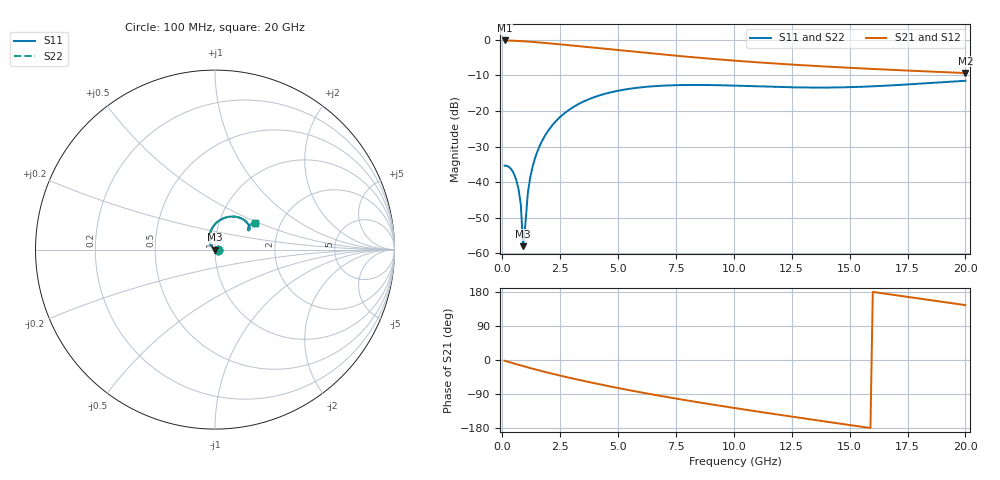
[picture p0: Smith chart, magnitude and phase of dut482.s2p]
! Touchstone file exported from HFSS 2024.1.0
!  File:  C:/UserFiles/LocalFiles/RDL_TSV_Batchsim/temp_RDL_TSV_482_1779732422.aedt
!  Generated:  02:21:49 AM May 26, 2026
!  Design:  RDL_TSV
!  Project:  temp_RDL_TSV_482_1779732422
!  Setup:  Setup1
!  Solution:  Sweep
! Variables:
!  dtsv = 12.53um
!  hbump = 3um
!  htsv = 72.06um
!  ldown = 600.54um
!  lrdl = 314.29um
!  p = 40
!  p1 = 41.17um
!  rhole = 10um
!  subl = 3058.78um
!  t = 450um
!  tdown = 4.89um
!  trdl = 2.39um
!  viad = 10um
!  wdown = 15.19um
!  wrdl = 22.99um
!  xbump = 18um
# GHz S MA R 50.000000
! Terminal data exported
! Port[1] = TM1_1_T1
! Port[2] = TM1_4_T1
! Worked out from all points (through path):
!   200 points, 100 MHz to 20 GHz, reference 50 ohm
!   highest |S21| = -0.15 dB at 100 MHz (marker M1); lowest = -9.3 dB at 20 GHz (marker M2)
!   group delay of S21, straight-line fit = 28.3 ps
!   lowest |S11| = -58.0 dB at 900 MHz (marker M3), VSWR 1.00, Z = 50.1 - j0.0567 ohm
!   |S11| at or under -10 dB: start of sweep to end of sweep
!   |S22| runs from -58.0 to -11.5 dB; largest |S21 - S12| = 1.1e-14
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0.1  0.0171 -0.6  0.9823 -1.9  0.9823 -1.9  0.0171 -0.6
! Gamma 0 0 0 0
! Port Impedance 50 0 50 0
0.4  0.01507 -9.2  0.9761 -7.4  0.9761 -7.4  0.01506 -9.2
0.6  0.01086 -16.1  0.9698 -10.9  0.9698 -10.9  0.01086 -16.2
0.7  0.00806 -19.5  0.9662 -12.7  0.9662 -12.7  0.008053 -19.6
0.8  0.004849 -22.8  0.9621 -14.4  0.9621 -14.4  0.004843 -23.0
0.9  0.001265 -26.6  0.9578 -16.1  0.9578 -16.1  0.001259 -27.3
1  0.00266 151.4  0.9532 -17.8  0.9532 -17.8  0.002666 151.8
1.1  0.006893 148.1  0.9483 -19.5  0.9483 -19.5  0.006899 148.3
1.2  0.0114 145.1  0.9431 -21.2  0.9431 -21.2  0.01141 145.2
1.4  0.02113 139.3  0.9322 -24.5  0.9322 -24.5  0.02114 139.4
1.6  0.03161 133.8  0.9207 -27.7  0.9207 -27.7  0.03162 133.8
2  0.05397 123.4  0.8966 -33.8  0.8966 -33.8  0.05399 123.5
2.4  0.07698 113.9  0.8719 -39.8  0.8719 -39.8  0.07703 114.0
2.9  0.105 103.2  0.841 -46.9  0.841 -46.9  0.1051 103.3
3.5  0.1358 91.9  0.8047 -55.0  0.8047 -55.0  0.1359 92.0
4.9  0.1902 70.7  0.7247 -72.7  0.7247 -72.7  0.1904 70.8
6.8  0.2264 50.6  0.6299 -94.4  0.6299 -94.4  0.2268 50.6
8.4  0.233 39.5  0.5647 -111.0  0.5647 -111.0  0.2334 39.5
10.1  0.2276 32.5  0.5093 -127.4  0.5093 -127.4  0.2281 32.6
13.4  0.2141 30.3  0.4327 -157.4  0.4327 -157.4  0.2145 30.4
16.7  0.2287 34.4  0.381 173.5  0.381 173.5  0.2291 34.4
20  0.2665 34.1  0.3422 144.9  0.3422 144.9  0.267 34.2
